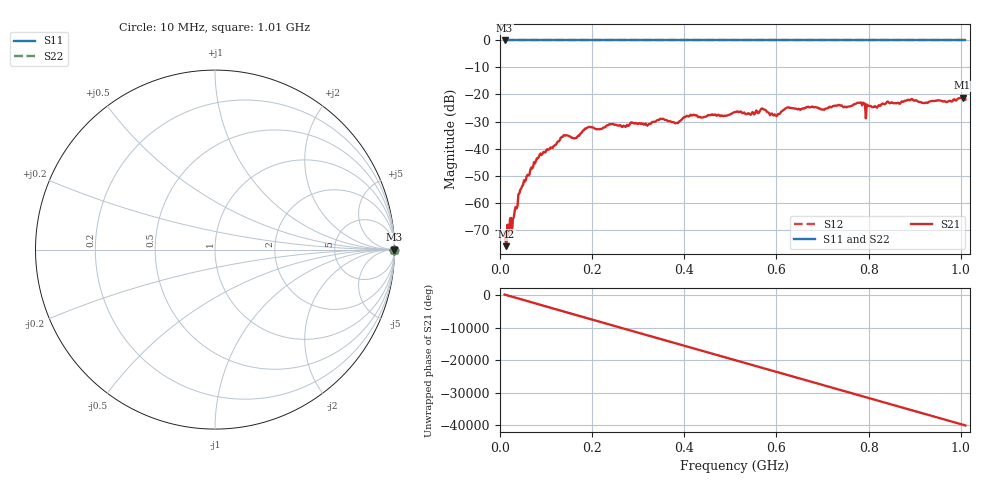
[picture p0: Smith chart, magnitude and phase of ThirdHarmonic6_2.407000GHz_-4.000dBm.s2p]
! 8/17/2025 4:00:35 AM
! C:\ANRITSUVNA\TEMP\TEMP.S2P
! CHANNEL.1
! TR.MEASUREMENT
! RAW.DATA
! RF.CORRECTION.OFF
! AVERAGING.OFF
! IF.BANDWIDTH: 5KHZ
! SWEEPTYPE:  FREQ.SWEEP(Linear)
! Reference Plane Port Info
! PORT:  PORT1  PORT2
! DISTANCE:  0  m  0  m
! TIME:  0  s  0  s
! PHASE.OFFSET:  0  deg.  0  deg.
! LOSS:  0  dB  0  dB
! REF.LOSS:  0  dB  0  dB
! REF.FREQ:  0  Hz  0  Hz
! Power Info
! POWER:  -20  dBm  -20  dBm
! EFF.POWER:  -20  dBm  -20  dBm
! SOURCE.ATTEN:  0  dB  0  dB
! TEST.ATTEN:  0  dB  0  dB
# GHZ S RI R 50.0
! FREQ.GHZ  S11RE  S11IM  S21RE  S21IM  S12RE  S12IM  S22RE  S22IM
!; PortSelection: Port_12
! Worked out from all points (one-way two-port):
!   501 points, 10 MHz to 1.01 GHz, reference 50 ohm
!   highest |S21| = -21.15 dB at 1.004 GHz (marker M1); lowest = -76.1 dB at 14 MHz (marker M2)
!   lowest |S11| = 0.0 dB at 10 MHz (marker M3)
!   |S11| at or under -10 dB: nowhere
!   |S22| runs from 0.0 to 0.0 dB; largest |S21 - S12| = 1.1
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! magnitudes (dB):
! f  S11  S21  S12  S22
! 10 MHz  0.0  -71.0  0.0  0.0
! 14 MHz  0.0  -76.1  0.0  0.0
! 20 MHz  0.0  -69.7  0.0  0.0
! 30 MHz  0.0  -65.4  0.0  0.0
! 44 MHz  0.0  -55.3  0.0  0.0
! 84 MHz  0.0  -43.2  0.0  0.0
! 136 MHz  0.0  -35.6  0.0  0.0
! 162 MHz  0.0  -36.3  0.0  0.0
! 178 MHz  0.0  -33.9  0.0  0.0
! 344 MHz  0.0  -29.4  0.0  0.0
! 382 MHz  0.0  -30.6  0.0  0.0
! 416 MHz  0.0  -27.8  0.0  0.0
! 510 MHz  0.0  -26.5  0.0  0.0
! 570 MHz  0.0  -25.3  0.0  0.0
! 598 MHz  0.0  -27.7  0.0  0.0
! 624 MHz  0.0  -24.8  0.0  0.0
! 678 MHz  0.0  -24.4  0.0  0.0
! 780 MHz  0.0  -23.1  0.0  0.0
! 798 MHz  0.0  -24.0  0.0  0.0
! 844 MHz  0.0  -23.0  0.0  0.0
! 1.004 GHz  0.0  -21.2  0.0  0.0
! 1.01 GHz  0.0  -21.9  0.0  0.0
